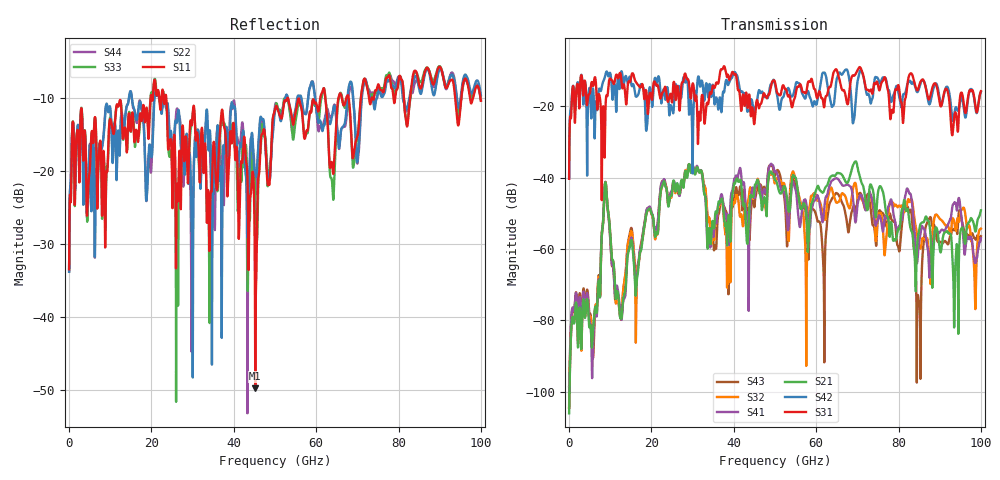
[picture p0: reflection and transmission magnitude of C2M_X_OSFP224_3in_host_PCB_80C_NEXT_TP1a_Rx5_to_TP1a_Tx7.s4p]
# GHz S RI R 45
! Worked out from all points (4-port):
!   4000 points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, 25 MHz to 100 GHz, reference 45 ohm
!   strongest paths, dB at 25 MHz, 25.02 GHz, 50.02 GHz, 75.03 GHz, 100 GHz:
!     S31: -40.4, -18.9, -13.3, -14.1, -15.8
!     S42: -40.1, -20.8, -13.9, -12.3, -15.9
!     S21: -106.1, -44.1, -40.8, -44.1, -49.2
!     S41: -98.8, -43.3, -38.4, -51.6, -57.0
!     S32: -104.5, -44.4, -41.5, -50.1, -54.3
!     S43: -104.5, -43.5, -39.2, -50.9, -56.5
!   lowest |S11| = -49.8 dB at 45.23 GHz (marker M1), VSWR 1.01, Z = 44.8 + j0.209 ohm
!   |S11| at or under -10 dB: start of sweep to 19.83 GHz; 23.61 GHz to 61.03 GHz (37.42 GHz wide, 88.4 % of centre); 62.21 GHz to 65.45 GHz (3.24 GHz wide, 5.08 % of centre) (the widest 3 of 15)
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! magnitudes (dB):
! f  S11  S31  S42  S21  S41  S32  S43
! 25 MHz  -33.5  -40.4  -40.1  -106.1  -98.8  -104.5  -104.5
! 6.35 GHz  -12.7  -11.9  -22.7  -76.4  -76.8  -76.3  -77.1
! 8.9 GHz  -24.6  -19.1  -10.8  -41.5  -41.5  -41.4  -41.4
! 12.6 GHz  -10.8  -11.6  -10.7  -79.5  -78.6  -79.1  -79.7
! 22.82 GHz  -9.1  -16.0  -15.7  -41.8  -41.1  -41.7  -40.9
! 45.23 GHz  -49.8  -22.0  -20.7  -41.9  -43.2  -43.7  -45.7
! 100 GHz  -10.4  -15.8  -15.9  -49.2  -57.0  -54.3  -56.5
